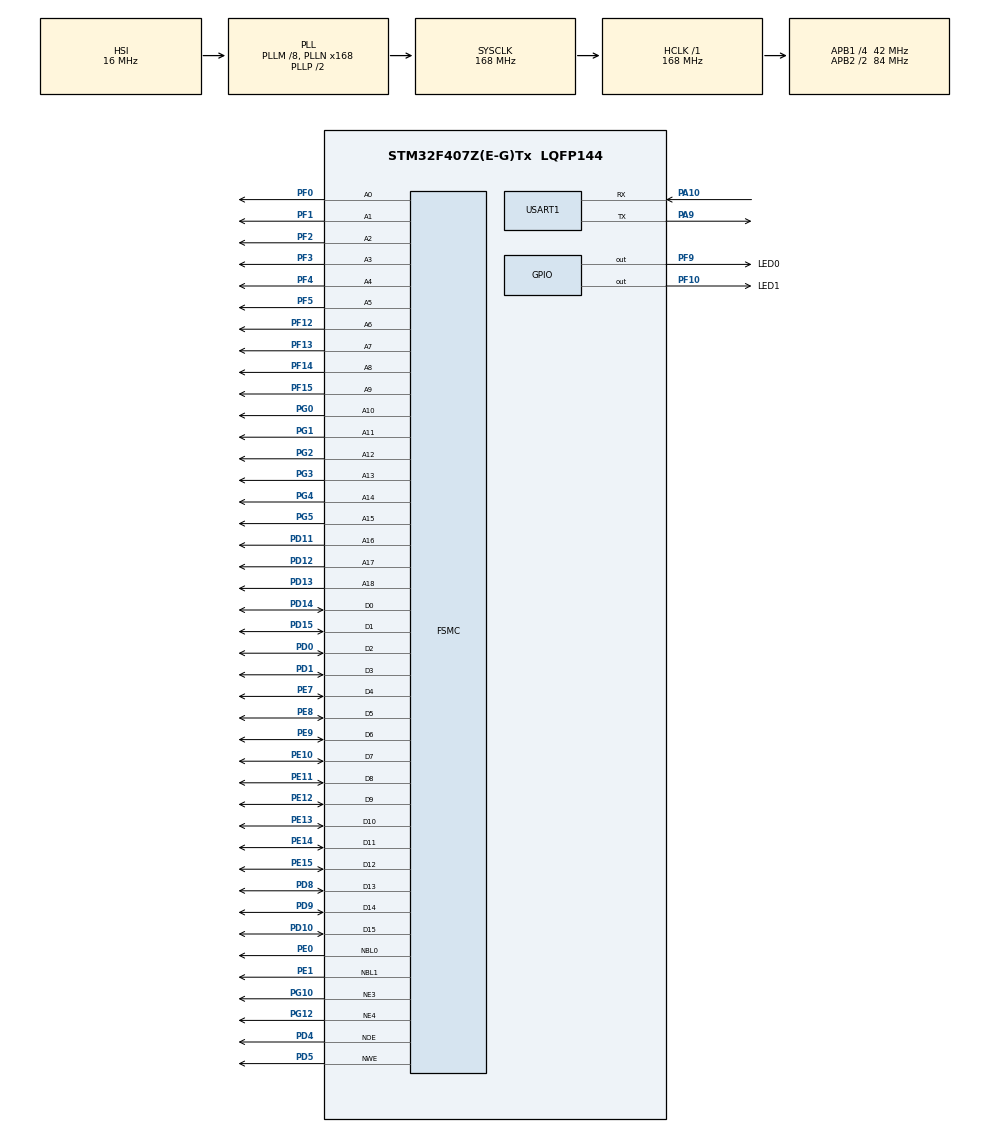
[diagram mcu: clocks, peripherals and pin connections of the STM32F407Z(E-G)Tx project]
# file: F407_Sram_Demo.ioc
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Dma.MEMTOMEM.0.Direction=DMA_MEMORY_TO_MEMORY
Dma.MEMTOMEM.0.FIFOMode=DMA_FIFOMODE_ENABLE
Dma.MEMTOMEM.0.FIFOThreshold=DMA_FIFO_THRESHOLD_FULL
Dma.MEMTOMEM.0.Instance=DMA2_Stream2
Dma.MEMTOMEM.0.MemBurst=DMA_MBURST_SINGLE
Dma.MEMTOMEM.0.MemDataAlignment=DMA_MDATAALIGN_WORD
Dma.MEMTOMEM.0.MemInc=DMA_MINC_ENABLE
Dma.MEMTOMEM.0.Mode=DMA_NORMAL
Dma.MEMTOMEM.0.PeriphBurst=DMA_PBURST_SINGLE
Dma.MEMTOMEM.0.PeriphDataAlignment=DMA_PDATAALIGN_WORD
Dma.MEMTOMEM.0.PeriphInc=DMA_PINC_ENABLE
Dma.MEMTOMEM.0.Priority=DMA_PRIORITY_HIGH
Dma.Request0=MEMTOMEM
FREERTOS.Tasks01=defaultTask,0,128,StartDefaultTask,Default,NULL,Dynamic,NULL,NULL
FREERTOS.configUSE_TICK_HOOK=1
FSMC.AddressSetupTime3=0
FSMC.AddressSetupTime4=6
FSMC.BusTurnAroundDuration3=0
FSMC.BusTurnAroundDuration4=0
FSMC.DataSetupTime3=8
FSMC.DataSetupTime4=26
FSMC.ExtendedAddressSetupTime4=3
FSMC.ExtendedBusTurnAroundDuration4=0
FSMC.ExtendedDataSetupTime4=6
FSMC.ExtendedMode4=FSMC_EXTENDED_MODE_ENABLE
FSMC.WriteOperation3=FSMC_WRITE_OPERATION_ENABLE
Mcu.Family=STM32F4
Mcu.Name=STM32F407Z(E-G)Tx
Mcu.Package=LQFP144
NVIC.DMA2_Stream2_IRQn=true\:5\:0\:false\:false\:true\:true\:true\:true\:true
NVIC.PriorityGroup=NVIC_PRIORITYGROUP_4
NVIC.USART1_IRQn=true\:5\:0\:false\:false\:true\:true\:true\:true\:true
PA10.Mode=Asynchronous
PA10.Signal=USART1_RX
PA13.Mode=Serial_Wire
PA13.Signal=SYS_JTMS-SWDIO
PA14.Mode=Serial_Wire
PA14.Signal=SYS_JTCK-SWCLK
PA9.Mode=Asynchronous
PA9.Signal=USART1_TX
PD0.Signal=FSMC_D2_DA2
PD1.Signal=FSMC_D3_DA3
PD10.Signal=FSMC_D15_DA15
PD11.Signal=FSMC_A16_CLE
PD12.Signal=FSMC_A17_ALE
PD13.Signal=FSMC_A18
PD14.Signal=FSMC_D0_DA0
PD15.Signal=FSMC_D1_DA1
PD4.Signal=FSMC_NOE
PD5.Signal=FSMC_NWE
PD8.Signal=FSMC_D13_DA13
PD9.Signal=FSMC_D14_DA14
PE0.Signal=FSMC_NBL0
PE1.Signal=FSMC_NBL1
PE10.Signal=FSMC_D7_DA7
PE11.Signal=FSMC_D8_DA8
PE12.Signal=FSMC_D9_DA9
PE13.Signal=FSMC_D10_DA10
PE14.Signal=FSMC_D11_DA11
PE15.Signal=FSMC_D12_DA12
PE7.Signal=FSMC_D4_DA4
PE8.Signal=FSMC_D5_DA5
PE9.Signal=FSMC_D6_DA6
PF0.Signal=FSMC_A0
PF1.Signal=FSMC_A1
PF10.GPIO_Label=LED1
PF10.Signal=GPIO_Output
PF12.Signal=FSMC_A6
PF13.Signal=FSMC_A7
PF14.Signal=FSMC_A8
PF15.Signal=FSMC_A9
PF2.Signal=FSMC_A2
PF3.Signal=FSMC_A3
PF4.Signal=FSMC_A4
PF5.Signal=FSMC_A5
PF9.GPIO_Label=LED0
PF9.Signal=GPIO_Output
PG0.Signal=FSMC_A10
PG1.Signal=FSMC_A11
PG10.Mode=NorPsramChipSelect3_3
PG10.Signal=FSMC_NE3
PG12.Mode=NorPsramChipSelect4_4
PG12.Signal=FSMC_NE4
PG2.Signal=FSMC_A12
PG3.Signal=FSMC_A13
PG4.Signal=FSMC_A14
PG5.Signal=FSMC_A15
PH0-OSC_IN.Mode=HSE-External-Oscillator
PH0-OSC_IN.Signal=RCC_OSC_IN
PH1-OSC_OUT.Mode=HSE-External-Oscillator
PH1-OSC_OUT.Signal=RCC_OSC_OUT
ProjectManager.HeapSize=0x200
ProjectManager.StackSize=0x400
ProjectManager.TargetToolchain=STM32CubeIDE
RCC.48MHZClocksFreq_Value=48000000
RCC.AHBFreq_Value=168000000
RCC.APB1CLKDivider=RCC_HCLK_DIV4
RCC.APB1Freq_Value=42000000
RCC.APB1TimFreq_Value=84000000
RCC.APB2CLKDivider=RCC_HCLK_DIV2
RCC.APB2Freq_Value=84000000
RCC.APB2TimFreq_Value=168000000
RCC.CortexFreq_Value=168000000
RCC.HCLKFreq_Value=168000000
RCC.HSE_VALUE=25000000
RCC.HSI_VALUE=16000000
RCC.LSE_VALUE=32768
RCC.PLLM=8
RCC.PLLN=168
RCC.PLLQ=7
RCC.SYSCLKFreq_VALUE=168000000
RCC.SYSCLKSource=RCC_SYSCLKSOURCE_PLLCLK
RCC.VCOOutputFreq_Value=336000000
RCC.VDD_VALUE=3.3
SH.FSMC_A0.0=FSMC_A0,19b-a3
SH.FSMC_A1.0=FSMC_A1,19b-a3
SH.FSMC_A10.0=FSMC_A10,19b-a3
SH.FSMC_A11.0=FSMC_A11,19b-a3
SH.FSMC_A12.0=FSMC_A12,19b-a3
SH.FSMC_A13.0=FSMC_A13,19b-a3
SH.FSMC_A14.0=FSMC_A14,19b-a3
SH.FSMC_A15.0=FSMC_A15,19b-a3
SH.FSMC_A16_CLE.0=FSMC_A16,19b-a3
SH.FSMC_A17_ALE.0=FSMC_A17,19b-a3
SH.FSMC_A18.0=FSMC_A18,19b-a3
SH.FSMC_A2.0=FSMC_A2,19b-a3
SH.FSMC_A3.0=FSMC_A3,19b-a3
SH.FSMC_A4.0=FSMC_A4,19b-a3
SH.FSMC_A5.0=FSMC_A5,19b-a3
SH.FSMC_A6.0=FSMC_A6,19b-a3
SH.FSMC_A6.1=FSMC_A6,A6_4
SH.FSMC_A7.0=FSMC_A7,19b-a3
SH.FSMC_A8.0=FSMC_A8,19b-a3
SH.FSMC_A9.0=FSMC_A9,19b-a3
SH.FSMC_D0_DA0.0=FSMC_D0,16b-d3
SH.FSMC_D0_DA0.1=FSMC_D0,16b-d4
SH.FSMC_D10_DA10.0=FSMC_D10,16b-d3
SH.FSMC_D10_DA10.1=FSMC_D10,16b-d4
SH.FSMC_D11_DA11.0=FSMC_D11,16b-d3
SH.FSMC_D11_DA11.1=FSMC_D11,16b-d4
SH.FSMC_D12_DA12.0=FSMC_D12,16b-d3
SH.FSMC_D12_DA12.1=FSMC_D12,16b-d4
SH.FSMC_D13_DA13.0=FSMC_D13,16b-d3
SH.FSMC_D13_DA13.1=FSMC_D13,16b-d4
SH.FSMC_D14_DA14.0=FSMC_D14,16b-d3
SH.FSMC_D14_DA14.1=FSMC_D14,16b-d4
SH.FSMC_D15_DA15.0=FSMC_D15,16b-d3
SH.FSMC_D15_DA15.1=FSMC_D15,16b-d4
SH.FSMC_D1_DA1.0=FSMC_D1,16b-d3
SH.FSMC_D1_DA1.1=FSMC_D1,16b-d4
SH.FSMC_D2_DA2.0=FSMC_D2,16b-d3
SH.FSMC_D2_DA2.1=FSMC_D2,16b-d4
SH.FSMC_D3_DA3.0=FSMC_D3,16b-d3
SH.FSMC_D3_DA3.1=FSMC_D3,16b-d4
SH.FSMC_D4_DA4.0=FSMC_D4,16b-d3
SH.FSMC_D4_DA4.1=FSMC_D4,16b-d4
SH.FSMC_D5_DA5.0=FSMC_D5,16b-d3
SH.FSMC_D5_DA5.1=FSMC_D5,16b-d4
SH.FSMC_D6_DA6.0=FSMC_D6,16b-d3
SH.FSMC_D6_DA6.1=FSMC_D6,16b-d4
SH.FSMC_D7_DA7.0=FSMC_D7,16b-d3
SH.FSMC_D7_DA7.1=FSMC_D7,16b-d4
SH.FSMC_D8_DA8.0=FSMC_D8,16b-d3
SH.FSMC_D8_DA8.1=FSMC_D8,16b-d4
SH.FSMC_D9_DA9.0=FSMC_D9,16b-d3
SH.FSMC_D9_DA9.1=FSMC_D9,16b-d4
SH.FSMC_NBL0.0=FSMC_NBL0,2ByteEnable3
SH.FSMC_NBL1.0=FSMC_NBL1,2ByteEnable3
SH.FSMC_NOE.0=FSMC_NOE,Sram3
SH.FSMC_NOE.1=FSMC_NOE,Lcd4
SH.FSMC_NWE.0=FSMC_NWE,Sram3
SH.FSMC_NWE.1=FSMC_NWE,Lcd4
USART1.VirtualMode=VM_ASYNC
VP_FREERTOS_VS_CMSIS_V1.Mode=CMSIS_V1
board=custom

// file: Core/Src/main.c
/* USER CODE BEGIN Header */
/**
  ******************************************************************************
  * @file           : main.c
  * @brief          : Main program body
  ******************************************************************************
  * @attention
  *
  * Copyright (c) 2023 STMicroelectronics.
  * All rights reserved.
  *
  * This software is licensed under terms that can be found in the LICENSE file
  * in the root directory of this software component.
  * If no LICENSE file comes with this software, it is provided AS-IS.
  *
  ******************************************************************************
  */
/* USER CODE END Header */
#include "main.h"
#include "cmsis_os.h"
#include "dma.h"
#include "usart.h"
#include "gpio.h"
#include "fsmc.h"

/* USER CODE BEGIN Includes */
#include "stdio.h"
#include "touch.h"
#include "lcd.h"
#include "porting/lv_port_disp.h"
#include "porting/lv_port_indev.h"

#ifdef __GNUC__
#define PUTCHAR_PROTOTYPE int __io_putchar(int ch)
#else
#define PUTCHAR_PROTOTYPE int fputc(int ch, FILE *f)
#endif
PUTCHAR_PROTOTYPE
{
    HAL_UART_Transmit(&huart1, (uint8_t*)&ch,1,1000);
    return ch;
}
/* USER CODE END Includes */

void SystemClock_Config(void);
void MX_FREERTOS_Init(void);

int main(void)
{

  /* MCU Configuration--------------------------------------------------------*/

  /* Reset of all peripherals, Initializes the Flash interface and the Systick. */
  HAL_Init();

  /* Configure the system clock */
  SystemClock_Config();

  /* Initialize all configured peripherals */
  MX_GPIO_Init();
  MX_DMA_Init();
  MX_FSMC_Init();
  MX_USART1_UART_Init();
  /* USER CODE BEGIN 2 */
    printf("start...\r\n");
    __HAL_LINKDMA(&hsram3,hdma,hdma_memtomem_dma2_stream2);

  /* USER CODE END 2 */

  /* Call init function for freertos objects (in freertos.c) */
  MX_FREERTOS_Init();

  /* Start scheduler */
  osKernelStart();
  /* We should never get here as control is now taken by the scheduler */
  /* Infinite loop */
  while (1)
  {

  }
}

void SystemClock_Config(void)
{
  RCC_OscInitTypeDef RCC_OscInitStruct = {0};
  RCC_ClkInitTypeDef RCC_ClkInitStruct = {0};

  /** Configure the main internal regulator output voltage
  */
  __HAL_RCC_PWR_CLK_ENABLE();
  __HAL_PWR_VOLTAGESCALING_CONFIG(PWR_REGULATOR_VOLTAGE_SCALE1);

  /** Initializes the RCC Oscillators according to the specified parameters
  * in the RCC_OscInitTypeDef structure.
  */
  RCC_OscInitStruct.OscillatorType = RCC_OSCILLATORTYPE_HSI;
  RCC_OscInitStruct.HSIState = RCC_HSI_ON;
  RCC_OscInitStruct.HSICalibrationValue = RCC_HSICALIBRATION_DEFAULT;
  RCC_OscInitStruct.PLL.PLLState = RCC_PLL_ON;
  RCC_OscInitStruct.PLL.PLLSource = RCC_PLLSOURCE_HSI;
  RCC_OscInitStruct.PLL.PLLM = 8;
  RCC_OscInitStruct.PLL.PLLN = 168;
  RCC_OscInitStruct.PLL.PLLP = RCC_PLLP_DIV2;
  RCC_OscInitStruct.PLL.PLLQ = 7;
  if (HAL_RCC_OscConfig(&RCC_OscInitStruct) != HAL_OK)
  {
    Error_Handler();
  }

  /** Initializes the CPU, AHB and APB buses clocks
  */
  RCC_ClkInitStruct.ClockType = RCC_CLOCKTYPE_HCLK|RCC_CLOCKTYPE_SYSCLK
                              |RCC_CLOCKTYPE_PCLK1|RCC_CLOCKTYPE_PCLK2;
  RCC_ClkInitStruct.SYSCLKSource = RCC_SYSCLKSOURCE_PLLCLK;
  RCC_ClkInitStruct.AHBCLKDivider = RCC_SYSCLK_DIV1;
  RCC_ClkInitStruct.APB1CLKDivider = RCC_HCLK_DIV4;
  RCC_ClkInitStruct.APB2CLKDivider = RCC_HCLK_DIV2;

  if (HAL_RCC_ClockConfig(&RCC_ClkInitStruct, FLASH_LATENCY_5) != HAL_OK)
  {
    Error_Handler();
  }
}

void Error_Handler(void)
{
  __disable_irq();
  while (1)
  {
  }
}

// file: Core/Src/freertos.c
/* USER CODE BEGIN Header */
/**
  ******************************************************************************
  * File Name          : freertos.c
  * Description        : Code for freertos applications
  ******************************************************************************
  * @attention
  *
  * Copyright (c) 2023 STMicroelectronics.
  * All rights reserved.
  *
  * This software is licensed under terms that can be found in the LICENSE file
  * in the root directory of this software component.
  * If no LICENSE file comes with this software, it is provided AS-IS.
  *
  ******************************************************************************
  */
/* USER CODE END Header */

#include "FreeRTOS.h"
#include "task.h"
#include "main.h"
#include "cmsis_os.h"

/* USER CODE BEGIN Includes */
#include "lcd.h"
#include "touch.h"
#include "Delay/delay.h"
#include "src/hal/lv_hal_tick.h"
#include "porting/lv_port_disp.h"
#include "porting/lv_port_indev.h"
#include "lv_demo/myDemo/lvgl_demo.h"
#include "lv_demo/lvgl_music_demo/gui_guider.h"
/* USER CODE END Includes */

/* USER CODE BEGIN Variables */

osThreadId ToggleLedTaskHandle;
/* USER CODE END Variables */
osThreadId defaultTaskHandle;

/* USER CODE BEGIN FunctionPrototypes */

void ToggleLedTask(void const * pvParam);
/* USER CODE END FunctionPrototypes */

void StartDefaultTask(void const * argument);

void MX_FREERTOS_Init(void); /* (MISRA C 2004 rule 8.1) */

/* GetIdleTaskMemory prototype (linked to static allocation support) */
void vApplicationGetIdleTaskMemory( StaticTask_t **ppxIdleTaskTCBBuffer, StackType_t **ppxIdleTaskStackBuffer, uint32_t *pulIdleTaskStackSize );

/* Hook prototypes */
void vApplicationTickHook(void);

/* USER CODE BEGIN 3 */
__weak void vApplicationTickHook( void )
{
    lv_tick_inc(1);
   /* This function will be called by each tick interrupt if
   configUSE_TICK_HOOK is set to 1 in FreeRTOSConfig.h. User code can be
   added here, but the tick hook is called from an interrupt context, so
   code must not attempt to block, and only the interrupt safe FreeRTOS API
   functions can be used (those that end in FromISR()). */
}
/* USER CODE END 3 */

/* USER CODE BEGIN GET_IDLE_TASK_MEMORY */
static StaticTask_t xIdleTaskTCBBuffer;
static StackType_t xIdleStack[configMINIMAL_STACK_SIZE];

void vApplicationGetIdleTaskMemory( StaticTask_t **ppxIdleTaskTCBBuffer, StackType_t **ppxIdleTaskStackBuffer, uint32_t *pulIdleTaskStackSize )
{
    *ppxIdleTaskTCBBuffer = &xIdleTaskTCBBuffer;
    *ppxIdleTaskStackBuffer = &xIdleStack[0];
    *pulIdleTaskStackSize = configMINIMAL_STACK_SIZE;
    /* place for user code */
}
/* USER CODE END GET_IDLE_TASK_MEMORY */

void MX_FREERTOS_Init(void) {

  /* Create the thread(s) */
  /* definition and creation of defaultTask */
  osThreadDef(defaultTask, StartDefaultTask, osPriorityNormal, 0, 256);
  defaultTaskHandle = osThreadCreate(osThread(defaultTask), NULL);

  /* USER CODE BEGIN RTOS_THREADS */
    osThreadDef(ToggleLedTask, ToggleLedTask, osPriorityNormal, 0, 128);
    ToggleLedTaskHandle = osThreadCreate(osThread(ToggleLedTask), NULL);

    /* add threads, ... */
  /* USER CODE END RTOS_THREADS */

}

void StartDefaultTask(void const * argument)
{
  /* USER CODE BEGIN StartDefaultTask */
    lv_ui ui;
    LCD_Init();
    tp_dev.init();
    lv_init();
    lv_port_disp_init();
    lv_port_indev_init();
//    setup_ui(&ui);
    lv_example_led_1();
    /* Infinite loop */
    while(1)
    {

        tp_dev.scan(0);
        lv_timer_handler();
        osDelay(20);
    }
  /* USER CODE END StartDefaultTask */
}

/* USER CODE BEGIN Application */

void ToggleLedTask(void const * pvParam)
{
    while(1)
    {
        HAL_GPIO_TogglePin(LED0_GPIO_Port,LED0_Pin);
        osDelay(1000);
    }
}
/* USER CODE END Application */
